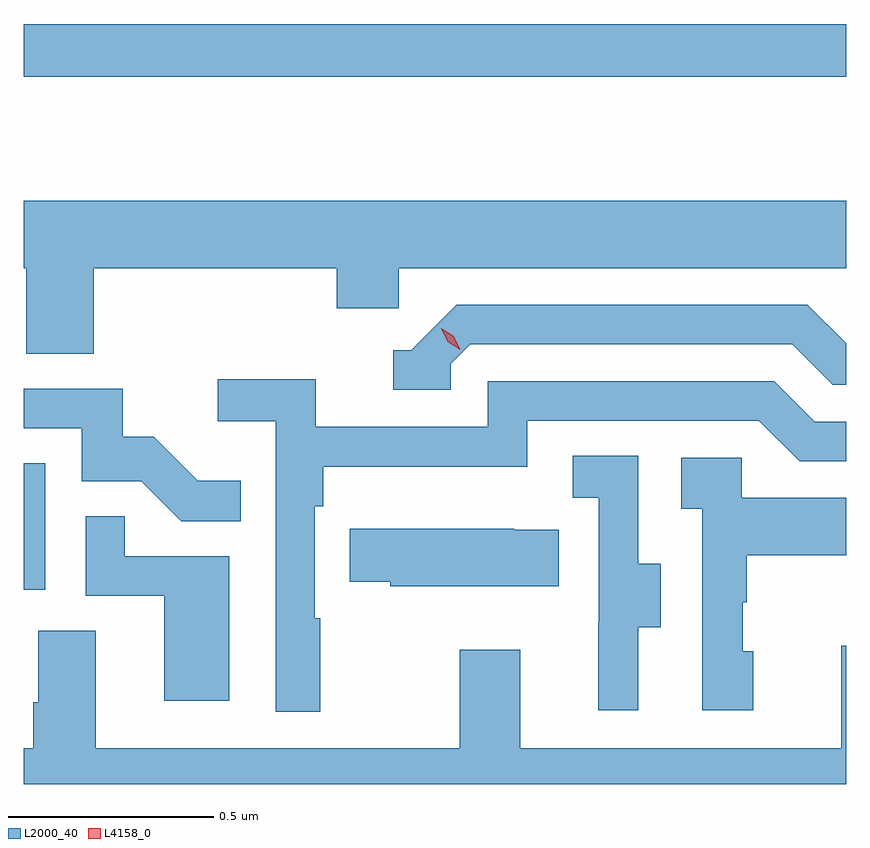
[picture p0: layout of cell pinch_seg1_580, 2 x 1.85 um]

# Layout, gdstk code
import gdstk
lib = gdstk.Library(unit=1e-6, precision=1e-09)
def R(c, l, rs):  # rectangles x0, y0, x1, y1
    for r in rs: c.add(gdstk.rectangle(r[:2], r[2:], *l))
def P(c, l, *ps):  # polygons
    for p in ps: c.add(gdstk.Polygon(p, *l))
L2000_40 = (2000, 40)
L4158_0 = (4158, 0)

pinch_seg1_580 = lib.new_cell('pinch_seg1_580')
R(pinch_seg1_580, L2000_40, [(1067.196,513.654,1067.248,513.961), (1067.196,514.902,1069.196,515.03)])
P(pinch_seg1_580, L2000_40, [(1067.366,514.436),(1067.957,514.436),(1067.957,514.338),(1068.108,514.338),(1068.108,514.436),(1069.196,514.436),(1069.196,514.6),(1067.196,514.6),(1067.196,514.436),(1067.201,514.436),(1067.201,514.228),(1067.366,514.228)],
  [(1068.234,514.203),(1068.282,514.251),(1069.065,514.251),(1069.164,514.152),(1069.196,514.152),(1069.196,514.253),(1069.102,514.347),(1068.249,514.347),(1068.138,514.236),(1068.095,514.236),(1068.095,514.14),(1068.234,514.14)],
  [(1067.917,513.584),(1067.904,513.584),(1067.904,513.857),(1067.924,513.857),(1067.924,513.953),(1068.42,513.953),(1068.42,514.065),(1068.984,514.065),(1069.083,513.966),(1069.196,513.966),(1069.196,514.062),(1069.12,514.062),(1069.021,514.161),(1068.324,514.161),(1068.324,514.05),(1067.906,514.05),(1067.906,514.166),(1067.667,514.166),(1067.667,514.064),(1067.808,514.064),(1067.808,513.357),(1067.917,513.357)],
  [(1067.723,513.919),(1067.619,513.919),(1067.512,514.026),(1067.436,514.026),(1067.436,514.143),(1067.196,514.143),(1067.196,514.047),(1067.337,514.047),(1067.337,513.918),(1067.481,513.918),(1067.579,513.82),(1067.723,513.82)],
  [(1068.691,513.562),(1068.745,513.562),(1068.745,513.717),(1068.69,513.717),(1068.69,513.98),(1068.531,513.98),(1068.531,513.877),(1068.594,513.877),(1068.594,513.573),(1068.593,513.573),(1068.593,513.36),(1068.691,513.36)],
  [(1068.97,513.504),(1068.945,513.504),(1068.945,513.623),(1068.955,513.623),(1068.955,513.737),(1069.196,513.737),(1069.196,513.877),(1068.942,513.877),(1068.942,513.975),(1068.795,513.975),(1068.795,513.851),(1068.846,513.851),(1068.846,513.36),(1068.97,513.36)],
  [(1067.695,513.735),(1067.441,513.735),(1067.441,513.833),(1067.346,513.833),(1067.346,513.639),(1067.537,513.639),(1067.537,513.384),(1067.695,513.384)],
  [(1068.497,513.799),(1068.389,513.799),(1068.389,513.802),(1067.989,513.802),(1067.989,513.673),(1068.087,513.673),(1068.087,513.662),(1068.497,513.662)],
  [(1069.196,513.517),(1069.184,513.517),(1069.184,513.268),(1068.403,513.268),(1068.403,513.508),(1068.256,513.508),(1068.256,513.268),(1067.371,513.268),(1067.371,513.554),(1067.231,513.554),(1067.231,513.38),(1067.219,513.38),(1067.219,513.268),(1067.196,513.268),(1067.196,513.181),(1069.196,513.181)])
P(pinch_seg1_580, L4158_0, [(1068.258,514.237),(1068.227,514.257),(1068.211,514.289),(1068.211,514.29),(1068.211,514.29),(1068.242,514.27),(1068.258,514.237),(1068.258,514.237)])

lib.write_gds('pinch_seg1_580.gds')
